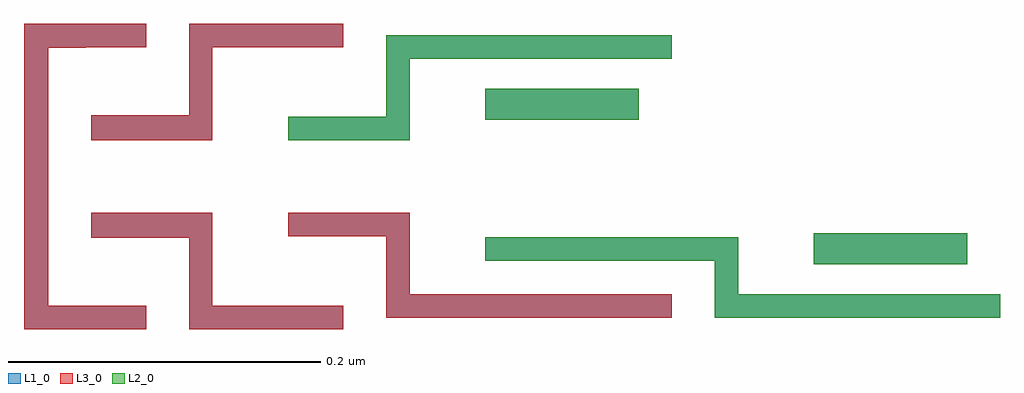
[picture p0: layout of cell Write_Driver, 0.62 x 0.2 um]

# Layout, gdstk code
import gdstk
lib = gdstk.Library(unit=1e-6, precision=5e-10)
def R(c, l, rs):  # rectangles x0, y0, x1, y1
    for r in rs: c.add(gdstk.rectangle(r[:2], r[2:], *l))
def P(c, l, *ps):  # polygons
    for p in ps: c.add(gdstk.Polygon(p, *l))
L1_0 = (1, 0)
L2_0 = (2, 0)
L3_0 = (3, 0)

inv = lib.new_cell('inv')
R(inv, L1_0, [(0.0695,0.039,0.0835,0.054), (0.0485,0.0985,0.1045,0.1135)])

buffer = lib.new_cell('buffer')
R(buffer, L1_0, [(0.217,0.0435,0.2275,0.053)])
P(buffer, L1_0, [(0.2125,0.114),(0.2125,0.099),(0.167,0.099),(0.167,0.0395),(0.0895,0.0395),(0.0895,0.0555),(0.152,0.0555),(0.152,0.114)])
P(buffer, L3_0, [(0.2505,0.114),(0.2505,0.099),(0.167,0.099),(0.167,0.0395),(0.0895,0.0395),(0.0895,0.0555),(0.152,0.0555),(0.152,0.114)])
buffer.add(gdstk.Reference(inv, (0.146,0.0005)))
buffer.add(gdstk.Reference(inv, (0.02,0.0005)))

invx4 = lib.new_cell('invx4')
R(invx4, L1_0, [(0.0755,0.0545,0.1735,0.0695), (0.0545,0.091,0.1945,0.106)])

write_driver = lib.new_cell('Write_Driver')
R(write_driver, L1_0, [(0.572,0.185,0.5785,0.19), (0.5685,0.2145,0.6665,0.2345), (0.3585,0.307,0.4565,0.327)])
P(write_driver, L1_0, [(0.52,0.232),(0.52,0.1955),(0.5475,0.1955),(0.5475,0.1805),(0.505,0.1805),(0.505,0.217),(0.4565,0.217),(0.4565,0.232)],
  [(0.3495,0.361),(0.3495,0.346),(0.31,0.346),(0.31,0.294),(0.2325,0.294),(0.2325,0.309),(0.295,0.309),(0.295,0.361)],
  [(0.31,0.2475),(0.31,0.1955),(0.342,0.1955),(0.342,0.1805),(0.295,0.1805),(0.295,0.2325),(0.2325,0.2325),(0.2325,0.2475)],
  [(0.103,0.3685),(0.103,0.353),(0.079,0.353),(0.079,0.188),(0.1015,0.188),(0.1015,0.173),(0.0635,0.173),(0.0635,0.3685)])
R(write_driver, L2_0, [(0.5685,0.2145,0.6665,0.2345), (0.3585,0.307,0.4565,0.327)])
P(write_driver, L2_0, [(0.52,0.232),(0.52,0.1955),(0.6875,0.1955),(0.6875,0.1805),(0.505,0.1805),(0.505,0.217),(0.3585,0.217),(0.3585,0.232)],
  [(0.4775,0.361),(0.4775,0.346),(0.31,0.346),(0.31,0.294),(0.2325,0.294),(0.2325,0.309),(0.295,0.309),(0.295,0.361)])
P(write_driver, L3_0, [(0.31,0.2475),(0.31,0.1955),(0.4775,0.1955),(0.4775,0.1805),(0.295,0.1805),(0.295,0.2325),(0.2325,0.2325),(0.2325,0.2475)],
  [(0.1415,0.3685),(0.1415,0.3535),(0.103,0.3535),(0.103,0.353),(0.079,0.353),(0.079,0.188),(0.1415,0.188),(0.1415,0.173),(0.0635,0.173),(0.0635,0.3685)])
write_driver.add(gdstk.Reference(buffer, (0.017,0.287), x_reflection=True))
write_driver.add(gdstk.Reference(buffer, (0.017,0.2545)))
write_driver.add(gdstk.Reference(invx4, (0.283,0.255)))
write_driver.add(gdstk.Reference(invx4, (0.493,0.2865), x_reflection=True))
write_driver.add(gdstk.Reference(invx4, (0.283,0.2865), x_reflection=True))

lib.write_gds('Write_Driver.gds')
